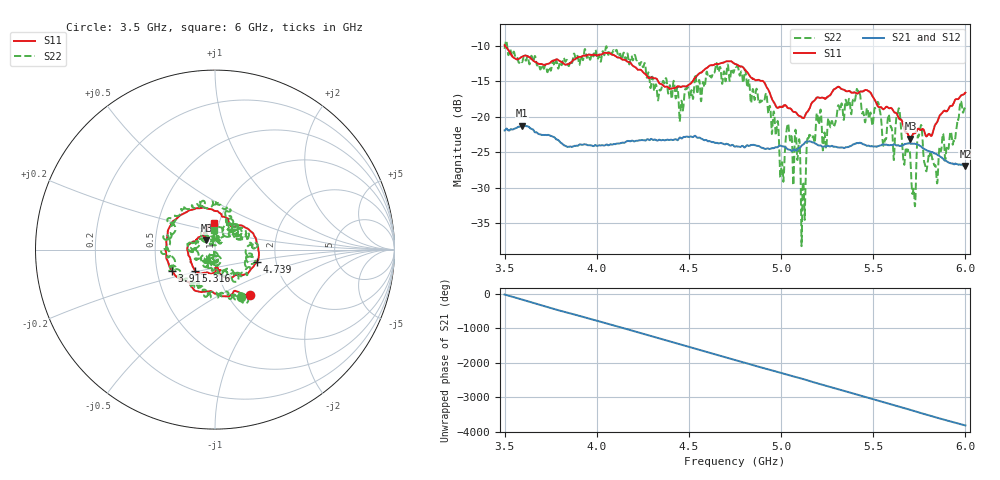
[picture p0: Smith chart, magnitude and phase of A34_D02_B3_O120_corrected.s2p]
! Created with skrf 1.9.0 (http://scikit-rf.org).
# Hz S RI R 50.0
!freq ReS11 ImS11 ReS21 ImS21 ReS12 ImS12 ReS22 ImS22
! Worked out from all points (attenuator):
!   1601 points, 3.5 GHz to 6 GHz, reference 50 ohm
!   highest |S21| = -21.25 dB at 3.592 GHz (marker M1); lowest = -26.9 dB at 6 GHz (marker M2)
!   lowest |S11| = -23.1 dB at 5.702 GHz (marker M3), VSWR 1.15, Z = 45.2 + j4.64 ohm
!   |S11| at or under -10 dB: 3.504 GHz to end of sweep
!   |S22| runs from -38.2 to -9.2 dB; largest |S21 - S12| = 0.00091
!   S11 on the Smith chart (normalised r, x): 3.5 GHz: 1.26, -0.71; 3.917 GHz: 0.60, -0.15; 4.739 GHz: 1.58, -0.23; 5.316 GHz: 0.78, -0.19; 6 GHz: 0.94, +0.29
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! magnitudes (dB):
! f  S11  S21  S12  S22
! 3.5 GHz  -9.9  -21.9  -21.9  -10.4
! 3.592 GHz  -11.6  -21.3  -21.3  -12.2
! 3.917 GHz  -11.5  -23.9  -23.9  -11.4
! 4.213 GHz  -13.1  -23.4  -23.4  -11.8
! 4.334 GHz  -15.1  -23.3  -23.2  -17.4
! 4.458 GHz  -15.8  -23.0  -23.0  -18.0
! 4.739 GHz  -12.3  -24.0  -24.0  -13.7
! 4.75 GHz  -12.5  -24.2  -24.1  -13.0
! 4.927 GHz  -16.0  -24.4  -24.4  -18.4
! 5.005 GHz  -18.6  -24.1  -24.1  -26.4
! 5.034 GHz  -18.7  -24.6  -24.5  -21.1
! 5.088 GHz  -19.6  -24.6  -24.6  -26.1
! 5.12 GHz  -20.2  -23.9  -23.8  -29.2
! 5.167 GHz  -18.0  -23.6  -23.5  -23.0
! 5.316 GHz  -15.8  -24.3  -24.3  -18.7
! 5.584 GHz  -18.8  -24.0  -24.0  -19.6
! 5.638 GHz  -20.1  -24.0  -24.0  -18.9
! 5.702 GHz  -23.1  -23.8  -23.8  -26.0
! 5.72 GHz  -22.3  -23.8  -23.7  -30.1
! 5.755 GHz  -21.8  -24.1  -24.0  -21.7
! 5.841 GHz  -21.0  -25.2  -25.2  -27.5
! 6 GHz  -16.6  -26.9  -26.9  -19.4
